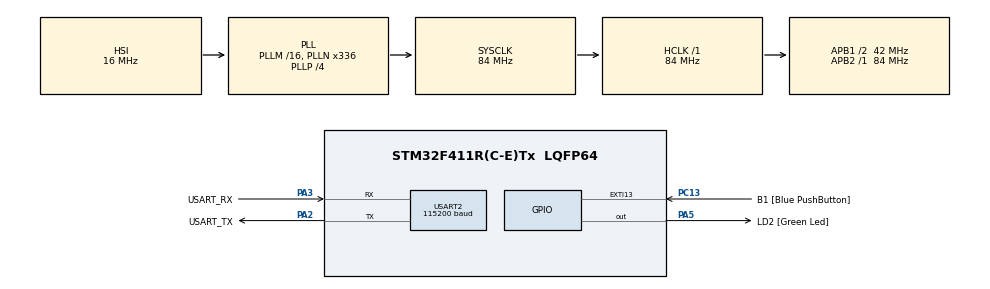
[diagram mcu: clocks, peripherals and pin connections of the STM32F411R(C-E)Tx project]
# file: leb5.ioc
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Mcu.Family=STM32F4
Mcu.Name=STM32F411R(C-E)Tx
Mcu.Package=LQFP64
NVIC.PriorityGroup=NVIC_PRIORITYGROUP_0
NVIC.USART2_IRQn=true\:0\:0\:false\:false\:true\:true\:true\:true
PA13.GPIO_Label=TMS
PA13.Mode=Serial_Wire
PA13.Signal=SYS_JTMS-SWDIO
PA14.GPIO_Label=TCK
PA14.Mode=Serial_Wire
PA14.Signal=SYS_JTCK-SWCLK
PA2.GPIO_Label=USART_TX
PA2.Mode=Asynchronous
PA2.Signal=USART2_TX
PA3.GPIO_Label=USART_RX
PA3.Mode=Asynchronous
PA3.Signal=USART2_RX
PA5.GPIO_Label=LD2 [Green Led]
PA5.Signal=GPIO_Output
PB3.GPIO_Label=SWO
PB3.Signal=SYS_JTDO-SWO
PC13-ANTI_TAMP.GPIO_Label=B1 [Blue PushButton]
PC13-ANTI_TAMP.GPIO_ModeDefaultEXTI=GPIO_MODE_IT_FALLING
PC13-ANTI_TAMP.Signal=GPXTI13
PC14-OSC32_IN.Mode=LSE-External-Oscillator
PC14-OSC32_IN.Signal=RCC_OSC32_IN
PC15-OSC32_OUT.Mode=LSE-External-Oscillator
PC15-OSC32_OUT.Signal=RCC_OSC32_OUT
PH0\ -\ OSC_IN.Mode=HSE-External-Clock-Source
PH0\ -\ OSC_IN.Signal=RCC_OSC_IN
PH1\ -\ OSC_OUT.Mode=HSE-External-Clock-Source
PH1\ -\ OSC_OUT.Signal=RCC_OSC_OUT
ProjectManager.HeapSize=0x200
ProjectManager.StackSize=0x400
ProjectManager.TargetToolchain=STM32CubeIDE
RCC.48MHZClocksFreq_Value=84000000
RCC.AHBFreq_Value=84000000
RCC.APB1CLKDivider=RCC_HCLK_DIV2
RCC.APB1Freq_Value=42000000
RCC.APB1TimFreq_Value=84000000
RCC.APB2Freq_Value=84000000
RCC.APB2TimFreq_Value=84000000
RCC.CortexFreq_Value=84000000
RCC.FLatency-AdvancedSettings=FLASH_LATENCY_2
RCC.HCLKFreq_Value=84000000
RCC.HSE_VALUE=8000000
RCC.HSI_VALUE=16000000
RCC.PLLN=336
RCC.PLLP=RCC_PLLP_DIV4
RCC.SYSCLKFreq_VALUE=84000000
RCC.SYSCLKSource=RCC_SYSCLKSOURCE_PLLCLK
RCC.VCOOutputFreq_Value=336000000
USART2.BaudRate=115200
USART2.VirtualMode=VM_ASYNC
board=NUCLEO-F411RE

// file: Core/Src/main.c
/* USER CODE BEGIN Header */
/**
  ******************************************************************************
  * @file           : main.c
  * @brief          : Main program body
  ******************************************************************************
  * @attention
  *
  * Copyright (c) 2023 STMicroelectronics.
  * All rights reserved.
  *
  * This software is licensed under terms that can be found in the LICENSE file
  * in the root directory of this software component.
  * If no LICENSE file comes with this software, it is provided AS-IS.
  *
  ******************************************************************************
  */
/* USER CODE END Header */
#include "main.h"

/* USER CODE BEGIN Includes */
#include "stdio.h"
#include "string.h"
/* USER CODE END Includes */

UART_HandleTypeDef huart2;

/* USER CODE BEGIN PV */
uint8_t Rxbox[20];
uint8_t Txbox[40];
uint8_t Rxbox2[1];
uint8_t Txbox2[100];
uint8_t x=0;
uint8_t y=0;
uint8_t b=0;
int hz=1;
uint8_t e=1;
uint8_t mode=1;
/* USER CODE END PV */

void SystemClock_Config(void);
static void MX_GPIO_Init(void);
static void MX_USART2_UART_Init(void);
/* USER CODE BEGIN PFP */
void intercon();
void DummyTask();

/* USER CODE END PFP */

int main(void)
{

  /* MCU Configuration--------------------------------------------------------*/

  /* Reset of all peripherals, Initializes the Flash interface and the Systick. */
  HAL_Init();

  /* Configure the system clock */
  SystemClock_Config();

  /* Initialize all configured peripherals */
  MX_GPIO_Init();
  MX_USART2_UART_Init();
  /* USER CODE BEGIN 2 */
  uint8_t text[] = "Hello";
  HAL_UART_Transmit(&huart2, text, 11, 10);
  intercon();
  /* USER CODE END 2 */

  /* Infinite loop */
  while (1)
  {

    /* USER CODE BEGIN 3 */

	  DummyTask();

  }
  /* USER CODE END 3 */
}

void SystemClock_Config(void)
{
  RCC_OscInitTypeDef RCC_OscInitStruct = {0};
  RCC_ClkInitTypeDef RCC_ClkInitStruct = {0};

  /** Configure the main internal regulator output voltage
  */
  __HAL_RCC_PWR_CLK_ENABLE();
  __HAL_PWR_VOLTAGESCALING_CONFIG(PWR_REGULATOR_VOLTAGE_SCALE1);

  /** Initializes the RCC Oscillators according to the specified parameters
  * in the RCC_OscInitTypeDef structure.
  */
  RCC_OscInitStruct.OscillatorType = RCC_OSCILLATORTYPE_HSI;
  RCC_OscInitStruct.HSIState = RCC_HSI_ON;
  RCC_OscInitStruct.HSICalibrationValue = RCC_HSICALIBRATION_DEFAULT;
  RCC_OscInitStruct.PLL.PLLState = RCC_PLL_ON;
  RCC_OscInitStruct.PLL.PLLSource = RCC_PLLSOURCE_HSI;
  RCC_OscInitStruct.PLL.PLLM = 16;
  RCC_OscInitStruct.PLL.PLLN = 336;
  RCC_OscInitStruct.PLL.PLLP = RCC_PLLP_DIV4;
  RCC_OscInitStruct.PLL.PLLQ = 4;
  if (HAL_RCC_OscConfig(&RCC_OscInitStruct) != HAL_OK)
  {
    Error_Handler();
  }

  /** Initializes the CPU, AHB and APB buses clocks
  */
  RCC_ClkInitStruct.ClockType = RCC_CLOCKTYPE_HCLK|RCC_CLOCKTYPE_SYSCLK
                              |RCC_CLOCKTYPE_PCLK1|RCC_CLOCKTYPE_PCLK2;
  RCC_ClkInitStruct.SYSCLKSource = RCC_SYSCLKSOURCE_PLLCLK;
  RCC_ClkInitStruct.AHBCLKDivider = RCC_SYSCLK_DIV1;
  RCC_ClkInitStruct.APB1CLKDivider = RCC_HCLK_DIV2;
  RCC_ClkInitStruct.APB2CLKDivider = RCC_HCLK_DIV1;

  if (HAL_RCC_ClockConfig(&RCC_ClkInitStruct, FLASH_LATENCY_2) != HAL_OK)
  {
    Error_Handler();
  }
}

static void MX_USART2_UART_Init(void)
{

  huart2.Instance = USART2;
  huart2.Init.BaudRate = 115200;
  huart2.Init.WordLength = UART_WORDLENGTH_8B;
  huart2.Init.StopBits = UART_STOPBITS_1;
  huart2.Init.Parity = UART_PARITY_NONE;
  huart2.Init.Mode = UART_MODE_TX_RX;
  huart2.Init.HwFlowCtl = UART_HWCONTROL_NONE;
  huart2.Init.OverSampling = UART_OVERSAMPLING_16;
  if (HAL_UART_Init(&huart2) != HAL_OK)
  {
    Error_Handler();
  }

}

static void MX_GPIO_Init(void)
{
  GPIO_InitTypeDef GPIO_InitStruct = {0};

  /* GPIO Ports Clock Enable */
  __HAL_RCC_GPIOC_CLK_ENABLE();
  __HAL_RCC_GPIOH_CLK_ENABLE();
  __HAL_RCC_GPIOA_CLK_ENABLE();
  __HAL_RCC_GPIOB_CLK_ENABLE();

  /*Configure GPIO pin Output Level */
  HAL_GPIO_WritePin(LD2_GPIO_Port, LD2_Pin, GPIO_PIN_RESET);

  /*Configure GPIO pin : B1_Pin */
  GPIO_InitStruct.Pin = B1_Pin;
  GPIO_InitStruct.Mode = GPIO_MODE_IT_FALLING;
  GPIO_InitStruct.Pull = GPIO_NOPULL;
  HAL_GPIO_Init(B1_GPIO_Port, &GPIO_InitStruct);

  /*Configure GPIO pin : LD2_Pin */
  GPIO_InitStruct.Pin = LD2_Pin;
  GPIO_InitStruct.Mode = GPIO_MODE_OUTPUT_PP;
  GPIO_InitStruct.Pull = GPIO_NOPULL;
  GPIO_InitStruct.Speed = GPIO_SPEED_FREQ_LOW;
  HAL_GPIO_Init(LD2_GPIO_Port, &GPIO_InitStruct);

}

/* USER CODE BEGIN 4 */
void intercon()
{
	HAL_UART_Receive_IT(&huart2, Rxbox, 1);
}
void HAL_UART_RxCpltCallback(UART_HandleTypeDef *huart)
{
	if(x==0&&Rxbox[0] == 50)
	{
		sprintf((char*)Txbox2,"----- Please Select Mode -----\r\n""Pass 0 = LED Control Mode""\r\n""Pass 1 = Botton Status Mode\r\n""  \r\n");
		HAL_UART_Transmit_IT(&huart2, Txbox2, strlen((char*)Txbox2));

	}

	else if (x==0&&Rxbox[0] == 48)
	{
		x=1;
		sprintf((char*)Txbox2,"----- LED Control Mode -----\r\n""a:Speed Up +1Hz\r\n""s:Speed Down -1Hz\r\n""d:On/Off\r\n""x:back\r\n""  \r\n");
		HAL_UART_Transmit_IT(&huart2, Txbox2, strlen((char*)Txbox2));
	}
	else if (x==1&&Rxbox[0] == 97)//pass a
	{
		y=1;
		hz++;

		sprintf((char*)Txbox2,"a passed :Speed Up +1Hz\r\n""Hz : %d\r\n""x:back\r\n", hz);
		HAL_UART_Transmit_IT(&huart2, Txbox2, strlen((char*)Txbox2));
	}
	else if (x==1&&Rxbox[0] == 115)//pass s
	{
		y=2;
		hz--;

		sprintf((char*)Txbox2,"s passed :Speed Down -1Hz\r\n""Hz : %d\r\n""x:back\r\n", hz);
		HAL_UART_Transmit_IT(&huart2, Txbox2, strlen((char*)Txbox2));
	}
	else if (x==1&&Rxbox[0] == 100)//pass d
	{

		 mode = (e++)%2;
		 if (mode==1)
		 {
			 sprintf((char*)Txbox2,"d passed : On\r\n""x:back\r\n");
			 HAL_UART_Transmit_IT(&huart2, Txbox2, strlen((char*)Txbox2));
		 }
		 else if (mode==0)
		 {
			 sprintf((char*)Txbox2,"d passed : Off\r\n""x:back\r\n");
			 HAL_UART_Transmit_IT(&huart2, Txbox2, strlen((char*)Txbox2));
		 }

	}
	else if (x==1&&Rxbox[0] == 120)//pass x
	{
		sprintf((char*)Txbox2,"x passed :back\r\n""Can pass 0 or 1 to select mode\r\n""  \r\n");
		HAL_UART_Transmit_IT(&huart2, Txbox2, strlen((char*)Txbox2));
		x=0;
		y=3;

	}
	else if (x==0&&Rxbox[0] == 49)
		{
			x=2;
			y=0;
			b = HAL_GPIO_ReadPin(GPIOC, GPIO_PIN_13);
			sprintf((char*)Txbox2,"----- Button Status Mode -----  \r\n""1 passed\r\n""Status : 0 \r\n""x:back\r\n""  \r\n");
			HAL_UART_Transmit_IT(&huart2, Txbox2, strlen((char*)Txbox2));
			if (x==2&&HAL_GPIO_ReadPin(GPIOC, GPIO_PIN_13) == 1)
			{
				sprintf((char*)Txbox2,"----- Button Status Mode -----  \r\n""1 passed\r\n""Status : 1 \r\n""x:back\r\n""  \r\n");
				HAL_UART_Transmit_IT(&huart2, Txbox2, strlen((char*)Txbox2));
			}

		}
	else if (x==2&&Rxbox[0] == 120)//pass x
	{
		sprintf((char*)Txbox2,"x passed :back\r\n""Can pass 0 or 1 to select mode\r\n""  \r\n");
		HAL_UART_Transmit_IT(&huart2, Txbox2, strlen((char*)Txbox2));
		x=0;
		y=3;

	}
	if(huart == &huart2)
	{
		Rxbox[5]= '\0';
		//sprintf((char*)Txbox,"Received: %s\r\n",Rxbox);
		//HAL_UART_Transmit_IT(&huart2, Txbox, strlen((char*)Txbox));
		HAL_UART_Receive_IT(&huart2, Rxbox, 1);
	}

}

void DummyTask()
{
	static uint32_t timestamp=0;
	if(mode==1)
	{
		if(HAL_GetTick()>=timestamp)
			{
				timestamp = HAL_GetTick()+(1000/hz);
				HAL_GPIO_TogglePin(LD2_GPIO_Port, LD2_Pin);
			}
	}
	else if(mode==0)
	{
		HAL_GPIO_WritePin(LD2_GPIO_Port, LD2_Pin, 0);
	}

}

/* USER CODE END 4 */

void Error_Handler(void)
{
  __disable_irq();
  while (1)
  {
  }
}
